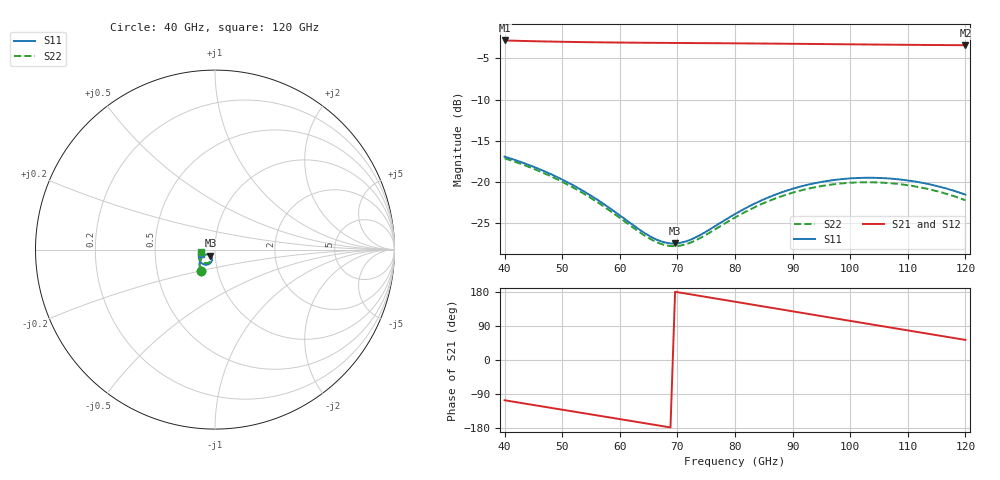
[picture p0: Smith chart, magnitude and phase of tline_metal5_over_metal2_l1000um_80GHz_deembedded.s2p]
! Created with skrf 2.0.1 (http://scikit-rf.org).
# GHz S DB R 50.0
!freq dBS11 angS11 dBS21 angS21 dBS12 angS12 dBS22 angS22
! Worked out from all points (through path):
!   101 points, 40 GHz to 120 GHz, reference 50 ohm
!   highest |S21| = -2.82 dB at 40 GHz (marker M1); lowest = -3.4 dB at 120 GHz (marker M2)
!   group delay of S21, straight-line fit = 6.98 ps
!   lowest |S11| = -27.4 dB at 69.6 GHz (marker M3), VSWR 1.09, Z = 47.4 - j3.21 ohm
!   |S11| at or under -10 dB: start of sweep to end of sweep
!   |S22| runs from -27.8 to -17.1 dB; largest |S21 - S12| = 8e-14
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40  -16.90 -122.0  -2.82 -106.2  -2.82 -106.2  -17.11 -122.9
46.4  -18.53 -136.6  -2.93 -122.2  -2.93 -122.2  -18.78 -137.8
53.6  -21.05 -148.8  -3.02 -140.1  -3.02 -140.1  -21.34 -150.4
57.6  -22.84 -152.0  -3.05 -150.0  -3.05 -150.0  -23.14 -154.0
60.8  -24.44 -151.5  -3.08 -158.0  -3.08 -158.0  -24.75 -153.6
64.8  -26.38 -144.6  -3.10 -168.0  -3.10 -168.0  -26.69 -147.1
67.2  -27.19 -136.7  -3.11 -174.0  -3.11 -174.0  -27.50 -139.5
69.6  -27.44 -127.1  -3.12 180.0  -3.12 180.0  -27.76 -130.2
71.2  -27.25 -120.9  -3.13 176.0  -3.13 176.0  -27.59 -124.2
72.8  -26.82 -115.6  -3.14 171.9  -3.14 171.9  -27.18 -119.0
76  -25.57 -108.5  -3.15 163.9  -3.15 163.9  -25.96 -112.2
80  -23.87 -105.9  -3.17 153.8  -3.17 153.8  -24.29 -109.9
86.4  -21.68 -110.2  -3.20 137.6  -3.20 137.6  -22.14 -114.6
90.4  -20.72 -115.5  -3.22 127.5  -3.22 127.5  -21.20 -120.2
93.6  -20.17 -120.5  -3.24 119.4  -3.24 119.4  -20.66 -125.5
97.6  -19.71 -127.3  -3.27 109.3  -3.27 109.3  -20.22 -132.5
100.8  -19.52 -132.9  -3.29 101.2  -3.29 101.2  -20.05 -138.3
104  -19.47 -138.5  -3.31 93.2  -3.31 93.2  -20.02 -144.2
107.2  -19.58 -144.0  -3.33 85.1  -3.33 85.1  -20.15 -150.0
110.4  -19.83 -149.4  -3.35 77.1  -3.35 77.1  -20.42 -155.6
113.6  -20.23 -154.4  -3.37 69.1  -3.37 69.1  -20.85 -160.9
120  -21.52 -162.9  -3.39 53.0  -3.39 53.0  -22.19 -169.8
